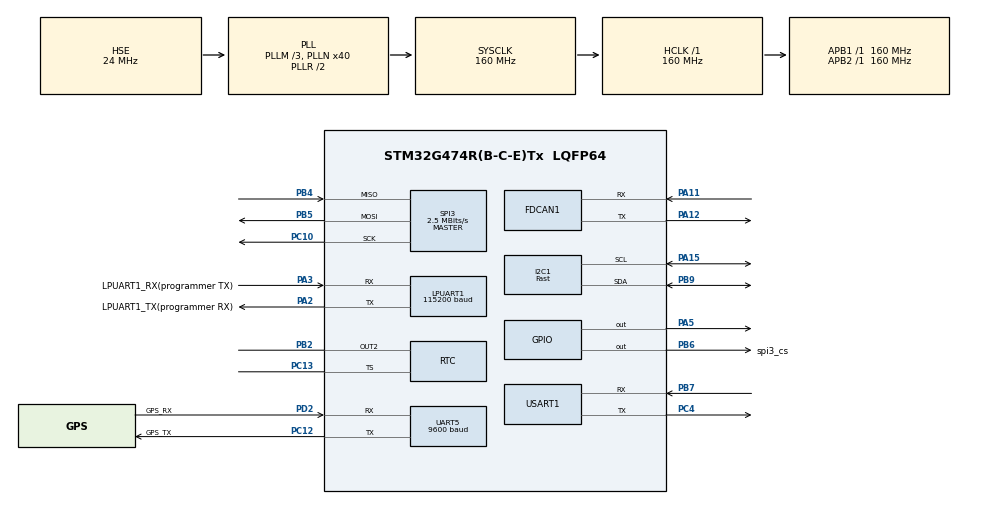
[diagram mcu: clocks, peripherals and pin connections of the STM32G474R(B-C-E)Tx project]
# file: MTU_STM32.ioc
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Dma.Request0=UART5_RX
Dma.Request1=USART1_RX
Dma.Request2=SPI3_RX
Dma.Request3=SPI3_TX
Dma.SPI3_RX.2.Direction=DMA_PERIPH_TO_MEMORY
Dma.SPI3_RX.2.EventEnable=DISABLE
Dma.SPI3_RX.2.Instance=DMA1_Channel3
Dma.SPI3_RX.2.MemDataAlignment=DMA_MDATAALIGN_BYTE
Dma.SPI3_RX.2.MemInc=DMA_MINC_ENABLE
Dma.SPI3_RX.2.Mode=DMA_NORMAL
Dma.SPI3_RX.2.PeriphDataAlignment=DMA_PDATAALIGN_BYTE
Dma.SPI3_RX.2.PeriphInc=DMA_PINC_DISABLE
Dma.SPI3_RX.2.Polarity=HAL_DMAMUX_REQ_GEN_RISING
Dma.SPI3_RX.2.Priority=DMA_PRIORITY_LOW
Dma.SPI3_RX.2.RequestNumber=1
Dma.SPI3_RX.2.SignalID=NONE
Dma.SPI3_RX.2.SyncEnable=DISABLE
Dma.SPI3_RX.2.SyncPolarity=HAL_DMAMUX_SYNC_NO_EVENT
Dma.SPI3_RX.2.SyncRequestNumber=1
Dma.SPI3_RX.2.SyncSignalID=NONE
Dma.SPI3_TX.3.Direction=DMA_MEMORY_TO_PERIPH
Dma.SPI3_TX.3.EventEnable=DISABLE
Dma.SPI3_TX.3.Instance=DMA1_Channel4
Dma.SPI3_TX.3.MemDataAlignment=DMA_MDATAALIGN_BYTE
Dma.SPI3_TX.3.MemInc=DMA_MINC_ENABLE
Dma.SPI3_TX.3.Mode=DMA_NORMAL
Dma.SPI3_TX.3.PeriphDataAlignment=DMA_PDATAALIGN_BYTE
Dma.SPI3_TX.3.PeriphInc=DMA_PINC_DISABLE
Dma.SPI3_TX.3.Polarity=HAL_DMAMUX_REQ_GEN_RISING
Dma.SPI3_TX.3.Priority=DMA_PRIORITY_LOW
Dma.SPI3_TX.3.RequestNumber=1
Dma.SPI3_TX.3.SignalID=NONE
Dma.SPI3_TX.3.SyncEnable=DISABLE
Dma.SPI3_TX.3.SyncPolarity=HAL_DMAMUX_SYNC_NO_EVENT
Dma.SPI3_TX.3.SyncRequestNumber=1
Dma.SPI3_TX.3.SyncSignalID=NONE
Dma.UART5_RX.0.Direction=DMA_PERIPH_TO_MEMORY
Dma.UART5_RX.0.EventEnable=DISABLE
Dma.UART5_RX.0.Instance=DMA1_Channel1
Dma.UART5_RX.0.MemDataAlignment=DMA_MDATAALIGN_BYTE
Dma.UART5_RX.0.MemInc=DMA_MINC_ENABLE
Dma.UART5_RX.0.Mode=DMA_CIRCULAR
Dma.UART5_RX.0.PeriphDataAlignment=DMA_PDATAALIGN_BYTE
Dma.UART5_RX.0.PeriphInc=DMA_PINC_DISABLE
Dma.UART5_RX.0.Polarity=HAL_DMAMUX_REQ_GEN_RISING
Dma.UART5_RX.0.Priority=DMA_PRIORITY_LOW
Dma.UART5_RX.0.RequestNumber=1
Dma.UART5_RX.0.SignalID=NONE
Dma.UART5_RX.0.SyncEnable=DISABLE
Dma.UART5_RX.0.SyncPolarity=HAL_DMAMUX_SYNC_NO_EVENT
Dma.UART5_RX.0.SyncRequestNumber=1
Dma.UART5_RX.0.SyncSignalID=NONE
Dma.USART1_RX.1.Direction=DMA_PERIPH_TO_MEMORY
Dma.USART1_RX.1.EventEnable=DISABLE
Dma.USART1_RX.1.Instance=DMA1_Channel2
Dma.USART1_RX.1.MemDataAlignment=DMA_MDATAALIGN_BYTE
Dma.USART1_RX.1.MemInc=DMA_MINC_ENABLE
Dma.USART1_RX.1.Mode=DMA_NORMAL
Dma.USART1_RX.1.PeriphDataAlignment=DMA_PDATAALIGN_BYTE
Dma.USART1_RX.1.PeriphInc=DMA_PINC_DISABLE
Dma.USART1_RX.1.Polarity=HAL_DMAMUX_REQ_GEN_RISING
Dma.USART1_RX.1.Priority=DMA_PRIORITY_LOW
Dma.USART1_RX.1.RequestNumber=1
Dma.USART1_RX.1.SignalID=NONE
Dma.USART1_RX.1.SyncEnable=DISABLE
Dma.USART1_RX.1.SyncPolarity=HAL_DMAMUX_SYNC_NO_EVENT
Dma.USART1_RX.1.SyncRequestNumber=1
Dma.USART1_RX.1.SyncSignalID=NONE
FATFS._USE_LABEL=1
FATFS._USE_LFN=3
FDCAN1.AutoRetransmission=ENABLE
FDCAN1.CalculateBaudRateNominal=125000
FDCAN1.CalculateTimeBitNominal=8000
FDCAN1.CalculateTimeQuantumNominal=100.0
FDCAN1.DataSyncJumpWidth=12
FDCAN1.DataTimeSeg1=12
FDCAN1.DataTimeSeg2=12
FDCAN1.NominalSyncJumpWidth=3
FDCAN1.NominalTimeSeg1=39
FDCAN1.NominalTimeSeg2=40
FDCAN1.StdFiltersNbr=1
I2C1.I2C_Speed_Mode=I2C_Fast
I2C1.Timing=0x10F32A82
LPUART1.BaudRate=115200
Mcu.Family=STM32G4
Mcu.Name=STM32G474R(B-C-E)Tx
Mcu.Package=LQFP64
NVIC.DMA1_Channel1_IRQn=true\:0\:0\:false\:false\:true\:false\:true\:true
NVIC.DMA1_Channel2_IRQn=true\:0\:0\:false\:false\:true\:false\:true\:true
NVIC.DMA1_Channel3_IRQn=true\:0\:0\:false\:false\:true\:false\:true\:true
NVIC.DMA1_Channel4_IRQn=true\:0\:0\:false\:false\:true\:false\:true\:true
NVIC.FDCAN1_IT0_IRQn=true\:0\:0\:false\:false\:true\:true\:true\:true
NVIC.FDCAN1_IT1_IRQn=true\:0\:0\:false\:false\:true\:true\:true\:true
NVIC.PriorityGroup=NVIC_PRIORITYGROUP_4
NVIC.UART5_IRQn=true\:0\:0\:false\:false\:true\:true\:true\:true
PA11.Mode=FDCAN_Activate
PA11.Signal=FDCAN1_RX
PA12.Mode=FDCAN_Activate
PA12.Signal=FDCAN1_TX
PA13.Mode=Serial_Wire
PA13.Signal=SYS_JTMS-SWDIO
PA14.Mode=Serial_Wire
PA14.Signal=SYS_JTCK-SWCLK
PA15.Mode=I2C
PA15.Signal=I2C1_SCL
PA2.GPIO_Label=LPUART1_TX(programmer RX)
PA2.Mode=Asynchronous
PA2.Signal=LPUART1_TX
PA3.GPIO_Label=LPUART1_RX(programmer TX)
PA3.Mode=Asynchronous
PA3.Signal=LPUART1_RX
PA5.Signal=GPIO_Output
PB2.Mode=Calibration_512Hz
PB2.Signal=RTC_OUT2
PB3.Signal=SYS_JTDO-SWO
PB4.Mode=Full_Duplex_Master
PB4.Signal=SPI3_MISO
PB5.Mode=Full_Duplex_Master
PB5.Signal=SPI3_MOSI
PB6.GPIO_Label=spi3_cs
PB6.GPIO_Speed=GPIO_SPEED_FREQ_HIGH
PB6.PinState=GPIO_PIN_SET
PB6.Signal=GPIO_Output
PB7.Mode=Asynchronous
PB7.Signal=USART1_RX
PB9.Mode=I2C
PB9.Signal=I2C1_SDA
PC10.Mode=Full_Duplex_Master
PC10.Signal=SPI3_SCK
PC11.Signal=UART4_RX
PC12.GPIO_Label=GPS_TX
PC12.Mode=Asynchronous
PC12.Signal=UART5_TX
PC13.Mode=Timestamp enabled
PC13.Signal=RTC_TS
PC14-OSC32_IN.Mode=LSE-External-Oscillator
PC14-OSC32_IN.Signal=RCC_OSC32_IN
PC15-OSC32_OUT.Mode=LSE-External-Oscillator
PC15-OSC32_OUT.Signal=RCC_OSC32_OUT
PC4.Mode=Asynchronous
PC4.Signal=USART1_TX
PD2.GPIO_Label=GPS_RX
PD2.Mode=Asynchronous
PD2.Signal=UART5_RX
PF0-OSC_IN.Mode=HSE-External-Oscillator
PF0-OSC_IN.Signal=RCC_OSC_IN
PF1-OSC_OUT.Mode=HSE-External-Oscillator
PF1-OSC_OUT.Signal=RCC_OSC_OUT
ProjectManager.HeapSize=0x200
ProjectManager.StackSize=0x400
ProjectManager.TargetToolchain=CMake
RCC.ADC12Freq_Value=160000000
RCC.ADC345Freq_Value=160000000
RCC.AHBFreq_Value=160000000
RCC.APB1Freq_Value=160000000
RCC.APB1TimFreq_Value=160000000
RCC.APB2Freq_Value=160000000
RCC.APB2TimFreq_Value=160000000
RCC.CortexFreq_Value=160000000
RCC.EXTERNAL_CLOCK_VALUE=12288000
RCC.HCLKFreq_Value=160000000
RCC.HSE_VALUE=24000000
RCC.HSI48_VALUE=48000000
RCC.HSI_VALUE=16000000
RCC.PLLM=RCC_PLLM_DIV3
RCC.PLLN=40
RCC.PLLSourceVirtual=RCC_PLLSOURCE_HSE
RCC.SYSCLKFreq_VALUE=160000000
RCC.SYSCLKSource=RCC_SYSCLKSOURCE_PLLCLK
RCC.USBFreq_Value=160000000
RCC.VCOOutputFreq_Value=320000000
RTC.Format=RTC_FORMAT_BIN
RTC.StoreOperation=RTC_STOREOPERATION_SET
SPI3.BaudRatePrescaler=SPI_BAUDRATEPRESCALER_64
SPI3.CalculateBaudRate=2.5 MBits/s
SPI3.DataSize=SPI_DATASIZE_8BIT
SPI3.Direction=SPI_DIRECTION_2LINES
SPI3.Mode=SPI_MODE_MASTER
SPI3.VirtualType=VM_MASTER
UART5.BaudRate=9600
UART5.WordLength=WORDLENGTH_8B
USART1.VirtualMode-Asynchronous=VM_ASYNC
VP_FATFS_VS_Generic.Mode=User_defined
VP_RTC_VS_RTC_Activate.Mode=RTC_Enabled
VP_RTC_VS_RTC_Calendar.Mode=RTC_Calendar
VP_SYS_VS_DBSignals.Mode=DisableDeadBatterySignals
board=custom

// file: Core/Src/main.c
/* USER CODE BEGIN Header */
/**
  ******************************************************************************
  * @file           : main.c
  * @brief          : Main program body
  ******************************************************************************
  * @attention
  *
  * Copyright (c) 2023 STMicroelectronics.
  * All rights reserved.
  *
  * This software is licensed under terms that can be found in the LICENSE file
  * in the root directory of this software component.
  * If no LICENSE file comes with this software, it is provided AS-IS.
  *
  ******************************************************************************
  */
/* USER CODE END Header */
#include "main.h"
#include "app_fatfs.h"

/* USER CODE BEGIN Includes */
#include "buffer/buffer.h"
#include "CANparser/CANparser.h"
#include "string.h"
#include "time.h"

#include "MTU/SD_API.h"
#include "MTU/CAN_API.h"
#include "MTU/BMS_API.h"
#include "MTU/GPS_API.h"
#include "MTU/IMU_API.h"
#include "MTU/MPPT_API.h"
#include "MTU/util.h"
/* USER CODE END Includes */

FDCAN_HandleTypeDef hfdcan1;

I2C_HandleTypeDef hi2c1;

UART_HandleTypeDef hlpuart1;
UART_HandleTypeDef huart5;
UART_HandleTypeDef huart1;
DMA_HandleTypeDef hdma_uart5_rx;
DMA_HandleTypeDef hdma_usart1_rx;

RTC_HandleTypeDef hrtc;

SPI_HandleTypeDef hspi3;
DMA_HandleTypeDef hdma_spi3_rx;
DMA_HandleTypeDef hdma_spi3_tx;

/* USER CODE BEGIN PV */

// DataFrame
DataFrame data;

// Tasks
struct task {
	uint32_t lastPerformedMillis;
	uint32_t frequency;				// task ideally performed every X ms
};

struct task taskWriteToSd 			= {0, 1000};
struct task taskWriteToCan 			= {0, 1000};
struct task taskGpsBufToDataFrame 	= {0, 1000};

//UART
uint8_t GPS_buf[GPS_BUF_SIZE];

//CAN
FDCAN_RxHeaderTypeDef RxHeader;

//ESP
bool validCredentailsRead = false;
bool sendWiFiCredentialsFlag = false;
bool WifiCredentialsReceivedFlag = false;
uint8_t rxWifiCredSeq = 0;

uint8_t wifiCredentialsBuf[258];
WifiCredentials wifiCredentials;
uint8_t wifiCredentialsLength = 0;
uint32_t wifiCredentialsRxLength = 0;

//IMU
uint8_t IMU_txbuf[8];
uint8_t IMU_rxbuf[8];

HAL_StatusTypeDef IMU_status;

//SD
char sdBuf[1024];
FATFS fs;
FRESULT sdResult;
UINT br, bw;
uint32_t total, free_space;
/* USER CODE END PV */

void SystemClock_Config(void);
static void MX_GPIO_Init(void);
static void MX_DMA_Init(void);
static void MX_FDCAN1_Init(void);
static void MX_I2C1_Init(void);
static void MX_UART5_Init(void);
static void MX_LPUART1_UART_Init(void);
static void MX_USART1_UART_Init(void);
static void MX_SPI3_Init(void);
static void MX_RTC_Init(void);
/* USER CODE BEGIN PFP */

// Idle line UART interrupt routine, used for GPS data
void HAL_UARTEx_RxEventCallback(UART_HandleTypeDef *huart, uint16_t Size) {
	//GPS
	if (huart->Instance == UART5) {
		parseGPS(&data, GPS_buf, Size);
	}
}

// CANbus interrupt routine
void HAL_FDCAN_RxFifo0Callback(FDCAN_HandleTypeDef *hfdcan, uint32_t RxFifo0ITs) {
	uint8_t RxData[8];
	HAL_FDCAN_GetRxMessage(hfdcan, FDCAN_RX_FIFO0, &RxHeader, RxData);

	// Telemetry reset signal
	if (RxHeader.Identifier == 0x100) {
		NVIC_SystemReset();
	}

	// signal to send wifiCredentials
	if (RxHeader.Identifier == 0x752) {
		sendWiFiCredentialsFlag = true;
	}

	if (listenForWiFiCredentialsCan(RxHeader.Identifier, RxData, wifiCredentialsBuf, &wifiCredentialsRxLength, &WifiCredentialsReceivedFlag, &rxWifiCredSeq) == 0) {
		rxWifiCredSeq = 0;
	}

	// Parse telemetry Data
	CAN_parseMessage(RxHeader.Identifier, RxData, &data, data.mtu.unixTime);
}

/* USER CODE END PFP */

int main(void)
{

  /* MCU Configuration--------------------------------------------------------*/

  /* Reset of all peripherals, Initializes the Flash interface and the Systick. */
  HAL_Init();

  /* Configure the system clock */
  SystemClock_Config();

  /* Initialize all configured peripherals */
  MX_GPIO_Init();
  MX_DMA_Init();
  MX_FDCAN1_Init();
  MX_I2C1_Init();
  MX_UART5_Init();
  MX_LPUART1_UART_Init();
  MX_USART1_UART_Init();
  MX_SPI3_Init();
  MX_RTC_Init();
  if (MX_FATFS_Init() != APP_OK) {
    Error_Handler();
  }
  /* USER CODE BEGIN 2 */

  //SD INIT
  data.mtu.SD_status = initSD(&fs, &total, &free_space);

  //get wifi credentials
  data.mtu.SD_status = readWifiCredentialsRaw(wifiCredentialsBuf, &wifiCredentialsLength);
  if (data.mtu.SD_status == FR_OK) {
	  validCredentailsRead = true;
  }

  //UART INIT

  //clear the RDR register to avoid overrun error
  volatile uint8_t tempUARTrdr = huart5.Instance->RDR;
  (void)tempUARTrdr;
  HAL_UARTEx_ReceiveToIdle_DMA(&huart5, GPS_buf, GPS_BUF_SIZE);

  //CAN INIT
  setCanTxHeaders();
  HAL_FDCAN_Start(&hfdcan1);
  HAL_FDCAN_ActivateNotification(&hfdcan1, FDCAN_IT_RX_FIFO0_NEW_MESSAGE, 0);

  /* USER CODE END 2 */

  /* Infinite loop */
  /* USER CODE BEGIN WHILE */

/////////////////////
//****MAIN LOOP****//
/////////////////////
while (1)
  {
	// -- tasks performed every cycle --

	getRTCUnixTime(&hrtc, &data);

	// -- tasks performed on time based interval --

	//convert raw GPS dataBuffer to values in dataframe struct
	if (HAL_GetTick() - taskGpsBufToDataFrame.lastPerformedMillis > taskGpsBufToDataFrame.frequency) {
		GPS_bufferToDataFrame(&data);

		taskGpsBufToDataFrame.lastPerformedMillis = HAL_GetTick();
	}

	// send GPS and MTU data to the CANbus network
	if (HAL_GetTick() - taskWriteToCan.lastPerformedMillis > taskWriteToCan.frequency) {
		sendToCan(&hfdcan1, &data);

		taskWriteToCan.lastPerformedMillis = HAL_GetTick();
	}

	// log all data to the sd card
	if (HAL_GetTick() - taskWriteToSd.lastPerformedMillis > taskWriteToSd.frequency) {
		data.mtu.SD_status = writeDataFrameToSD(&data);

		taskWriteToSd.lastPerformedMillis = HAL_GetTick();
	}

	// -- event-driven tasks --

	// If gps has overrun error, clear rdr buffer and reinitialize interrupt
	if (huart5.ErrorCode & 8) {
		tempUARTrdr = huart5.Instance->RDR;
		(void)tempUARTrdr;
		HAL_UARTEx_ReceiveToIdle_DMA(&huart5, GPS_buf, GPS_BUF_SIZE);
	}

	// If esp requests wifiCredentials, send it over CANbus
	if (validCredentailsRead & sendWiFiCredentialsFlag) {
		readWifiCredentialsRaw(wifiCredentialsBuf, &wifiCredentialsLength);
		sendWiFiCredentialsBuf(&hfdcan1, wifiCredentialsBuf, wifiCredentialsLength);

		sendWiFiCredentialsFlag = false;
	}

	// If esp received new wifi Credentials, save it to SD card
	if (WifiCredentialsReceivedFlag) {
		sdResult = saveWifiCredentialsRaw(wifiCredentialsBuf, wifiCredentialsLength);
		if (sdResult == FR_OK) { //success
			rxWifiCredSeq = 0;
			WifiCredentialsReceivedFlag = false;
		}
	}

    /* USER CODE END WHILE */

    /* USER CODE BEGIN 3 */
  }
	////////////////////
	//****END MAIN****//
	////////////////////
  /* USER CODE END 3 */
}

void SystemClock_Config(void)
{
  RCC_OscInitTypeDef RCC_OscInitStruct = {0};
  RCC_ClkInitTypeDef RCC_ClkInitStruct = {0};

  /** Configure the main internal regulator output voltage
  */
  HAL_PWREx_ControlVoltageScaling(PWR_REGULATOR_VOLTAGE_SCALE1_BOOST);

  /** Initializes the RCC Oscillators according to the specified parameters
  * in the RCC_OscInitTypeDef structure.
  */
  RCC_OscInitStruct.OscillatorType = RCC_OSCILLATORTYPE_LSI|RCC_OSCILLATORTYPE_HSE;
  RCC_OscInitStruct.HSEState = RCC_HSE_ON;
  RCC_OscInitStruct.LSIState = RCC_LSI_ON;
  RCC_OscInitStruct.PLL.PLLState = RCC_PLL_ON;
  RCC_OscInitStruct.PLL.PLLSource = RCC_PLLSOURCE_HSE;
  RCC_OscInitStruct.PLL.PLLM = RCC_PLLM_DIV3;
  RCC_OscInitStruct.PLL.PLLN = 40;
  RCC_OscInitStruct.PLL.PLLP = RCC_PLLP_DIV2;
  RCC_OscInitStruct.PLL.PLLQ = RCC_PLLQ_DIV2;
  RCC_OscInitStruct.PLL.PLLR = RCC_PLLR_DIV2;
  if (HAL_RCC_OscConfig(&RCC_OscInitStruct) != HAL_OK)
  {
    Error_Handler();
  }

  /** Initializes the CPU, AHB and APB buses clocks
  */
  RCC_ClkInitStruct.ClockType = RCC_CLOCKTYPE_HCLK|RCC_CLOCKTYPE_SYSCLK
                              |RCC_CLOCKTYPE_PCLK1|RCC_CLOCKTYPE_PCLK2;
  RCC_ClkInitStruct.SYSCLKSource = RCC_SYSCLKSOURCE_PLLCLK;
  RCC_ClkInitStruct.AHBCLKDivider = RCC_SYSCLK_DIV1;
  RCC_ClkInitStruct.APB1CLKDivider = RCC_HCLK_DIV1;
  RCC_ClkInitStruct.APB2CLKDivider = RCC_HCLK_DIV1;

  if (HAL_RCC_ClockConfig(&RCC_ClkInitStruct, FLASH_LATENCY_4) != HAL_OK)
  {
    Error_Handler();
  }
}

static void MX_FDCAN1_Init(void)
{

  hfdcan1.Instance = FDCAN1;
  hfdcan1.Init.ClockDivider = FDCAN_CLOCK_DIV1;
  hfdcan1.Init.FrameFormat = FDCAN_FRAME_CLASSIC;
  hfdcan1.Init.Mode = FDCAN_MODE_NORMAL;
  hfdcan1.Init.AutoRetransmission = ENABLE;
  hfdcan1.Init.TransmitPause = DISABLE;
  hfdcan1.Init.ProtocolException = DISABLE;
  hfdcan1.Init.NominalPrescaler = 16;
  hfdcan1.Init.NominalSyncJumpWidth = 3;
  hfdcan1.Init.NominalTimeSeg1 = 39;
  hfdcan1.Init.NominalTimeSeg2 = 40;
  hfdcan1.Init.DataPrescaler = 1;
  hfdcan1.Init.DataSyncJumpWidth = 12;
  hfdcan1.Init.DataTimeSeg1 = 12;
  hfdcan1.Init.DataTimeSeg2 = 12;
  hfdcan1.Init.StdFiltersNbr = 1;
  hfdcan1.Init.ExtFiltersNbr = 0;
  hfdcan1.Init.TxFifoQueueMode = FDCAN_TX_FIFO_OPERATION;
  if (HAL_FDCAN_Init(&hfdcan1) != HAL_OK)
  {
    Error_Handler();
  }

}

static void MX_I2C1_Init(void)
{

  hi2c1.Instance = I2C1;
  hi2c1.Init.Timing = 0x10F32A82;
  hi2c1.Init.OwnAddress1 = 0;
  hi2c1.Init.AddressingMode = I2C_ADDRESSINGMODE_7BIT;
  hi2c1.Init.DualAddressMode = I2C_DUALADDRESS_DISABLE;
  hi2c1.Init.OwnAddress2 = 0;
  hi2c1.Init.OwnAddress2Masks = I2C_OA2_NOMASK;
  hi2c1.Init.GeneralCallMode = I2C_GENERALCALL_DISABLE;
  hi2c1.Init.NoStretchMode = I2C_NOSTRETCH_DISABLE;
  if (HAL_I2C_Init(&hi2c1) != HAL_OK)
  {
    Error_Handler();
  }

  /** Configure Analogue filter
  */
  if (HAL_I2CEx_ConfigAnalogFilter(&hi2c1, I2C_ANALOGFILTER_ENABLE) != HAL_OK)
  {
    Error_Handler();
  }

  /** Configure Digital filter
  */
  if (HAL_I2CEx_ConfigDigitalFilter(&hi2c1, 0) != HAL_OK)
  {
    Error_Handler();
  }

}

static void MX_LPUART1_UART_Init(void)
{

  hlpuart1.Instance = LPUART1;
  hlpuart1.Init.BaudRate = 115200;
  hlpuart1.Init.WordLength = UART_WORDLENGTH_8B;
  hlpuart1.Init.StopBits = UART_STOPBITS_1;
  hlpuart1.Init.Parity = UART_PARITY_NONE;
  hlpuart1.Init.Mode = UART_MODE_TX_RX;
  hlpuart1.Init.HwFlowCtl = UART_HWCONTROL_NONE;
  hlpuart1.Init.OneBitSampling = UART_ONE_BIT_SAMPLE_DISABLE;
  hlpuart1.Init.ClockPrescaler = UART_PRESCALER_DIV1;
  hlpuart1.AdvancedInit.AdvFeatureInit = UART_ADVFEATURE_NO_INIT;
  if (HAL_UART_Init(&hlpuart1) != HAL_OK)
  {
    Error_Handler();
  }
  if (HAL_UARTEx_SetTxFifoThreshold(&hlpuart1, UART_TXFIFO_THRESHOLD_1_8) != HAL_OK)
  {
    Error_Handler();
  }
  if (HAL_UARTEx_SetRxFifoThreshold(&hlpuart1, UART_RXFIFO_THRESHOLD_1_8) != HAL_OK)
  {
    Error_Handler();
  }
  if (HAL_UARTEx_DisableFifoMode(&hlpuart1) != HAL_OK)
  {
    Error_Handler();
  }

}

static void MX_UART5_Init(void)
{

  huart5.Instance = UART5;
  huart5.Init.BaudRate = 9600;
  huart5.Init.WordLength = UART_WORDLENGTH_8B;
  huart5.Init.StopBits = UART_STOPBITS_1;
  huart5.Init.Parity = UART_PARITY_NONE;
  huart5.Init.Mode = UART_MODE_TX_RX;
  huart5.Init.HwFlowCtl = UART_HWCONTROL_NONE;
  huart5.Init.OverSampling = UART_OVERSAMPLING_16;
  huart5.Init.OneBitSampling = UART_ONE_BIT_SAMPLE_DISABLE;
  huart5.Init.ClockPrescaler = UART_PRESCALER_DIV1;
  huart5.AdvancedInit.AdvFeatureInit = UART_ADVFEATURE_NO_INIT;
  if (HAL_UART_Init(&huart5) != HAL_OK)
  {
    Error_Handler();
  }
  if (HAL_UARTEx_SetTxFifoThreshold(&huart5, UART_TXFIFO_THRESHOLD_1_8) != HAL_OK)
  {
    Error_Handler();
  }
  if (HAL_UARTEx_SetRxFifoThreshold(&huart5, UART_RXFIFO_THRESHOLD_1_8) != HAL_OK)
  {
    Error_Handler();
  }
  if (HAL_UARTEx_DisableFifoMode(&huart5) != HAL_OK)
  {
    Error_Handler();
  }

}

static void MX_USART1_UART_Init(void)
{

  huart1.Instance = USART1;
  huart1.Init.BaudRate = 115200;
  huart1.Init.WordLength = UART_WORDLENGTH_8B;
  huart1.Init.StopBits = UART_STOPBITS_1;
  huart1.Init.Parity = UART_PARITY_NONE;
  huart1.Init.Mode = UART_MODE_TX_RX;
  huart1.Init.HwFlowCtl = UART_HWCONTROL_NONE;
  huart1.Init.OverSampling = UART_OVERSAMPLING_16;
  huart1.Init.OneBitSampling = UART_ONE_BIT_SAMPLE_DISABLE;
  huart1.Init.ClockPrescaler = UART_PRESCALER_DIV1;
  huart1.AdvancedInit.AdvFeatureInit = UART_ADVFEATURE_NO_INIT;
  if (HAL_UART_Init(&huart1) != HAL_OK)
  {
    Error_Handler();
  }
  if (HAL_UARTEx_SetTxFifoThreshold(&huart1, UART_TXFIFO_THRESHOLD_1_8) != HAL_OK)
  {
    Error_Handler();
  }
  if (HAL_UARTEx_SetRxFifoThreshold(&huart1, UART_RXFIFO_THRESHOLD_1_8) != HAL_OK)
  {
    Error_Handler();
  }
  if (HAL_UARTEx_DisableFifoMode(&huart1) != HAL_OK)
  {
    Error_Handler();
  }

}

static void MX_RTC_Init(void)
{

  RTC_TimeTypeDef sTime = {0};
  RTC_DateTypeDef sDate = {0};

  /** Initialize RTC Only
  */
  hrtc.Instance = RTC;
  hrtc.Init.HourFormat = RTC_HOURFORMAT_24;
  hrtc.Init.AsynchPrediv = 127;
  hrtc.Init.SynchPrediv = 255;
  hrtc.Init.OutPut = RTC_OUTPUT_DISABLE;
  hrtc.Init.OutPutRemap = RTC_OUTPUT_REMAP_POS1;
  hrtc.Init.OutPutPolarity = RTC_OUTPUT_POLARITY_HIGH;
  hrtc.Init.OutPutType = RTC_OUTPUT_TYPE_OPENDRAIN;
  hrtc.Init.OutPutPullUp = RTC_OUTPUT_PULLUP_NONE;
  if (HAL_RTC_Init(&hrtc) != HAL_OK)
  {
    Error_Handler();
  }

  /** Initialize RTC and set the Time and Date
  */
  sTime.Hours = 0;
  sTime.Minutes = 0;
  sTime.Seconds = 0;
  sTime.SubSeconds = 0;
  sTime.DayLightSaving = RTC_DAYLIGHTSAVING_NONE;
  sTime.StoreOperation = RTC_STOREOPERATION_SET;
  if (HAL_RTC_SetTime(&hrtc, &sTime, RTC_FORMAT_BIN) != HAL_OK)
  {
    Error_Handler();
  }
  sDate.WeekDay = RTC_WEEKDAY_MONDAY;
  sDate.Month = RTC_MONTH_JANUARY;
  sDate.Date = 1;
  sDate.Year = 0;
  if (HAL_RTC_SetDate(&hrtc, &sDate, RTC_FORMAT_BIN) != HAL_OK)
  {
    Error_Handler();
  }

  /** Enable the TimeStamp
  */
  if (HAL_RTCEx_SetTimeStamp(&hrtc, RTC_TIMESTAMPEDGE_RISING, RTC_TIMESTAMPPIN_DEFAULT) != HAL_OK)
  {
    Error_Handler();
  }

  /** Enable Calibration
  */
  if (HAL_RTCEx_SetCalibrationOutPut(&hrtc, RTC_CALIBOUTPUT_512HZ) != HAL_OK)
  {
    Error_Handler();
  }

}

static void MX_SPI3_Init(void)
{

  /* SPI3 parameter configuration*/
  hspi3.Instance = SPI3;
  hspi3.Init.Mode = SPI_MODE_MASTER;
  hspi3.Init.Direction = SPI_DIRECTION_2LINES;
  hspi3.Init.DataSize = SPI_DATASIZE_8BIT;
  hspi3.Init.CLKPolarity = SPI_POLARITY_LOW;
  hspi3.Init.CLKPhase = SPI_PHASE_1EDGE;
  hspi3.Init.NSS = SPI_NSS_SOFT;
  hspi3.Init.BaudRatePrescaler = SPI_BAUDRATEPRESCALER_64;
  hspi3.Init.FirstBit = SPI_FIRSTBIT_MSB;
  hspi3.Init.TIMode = SPI_TIMODE_DISABLE;
  hspi3.Init.CRCCalculation = SPI_CRCCALCULATION_DISABLE;
  hspi3.Init.CRCPolynomial = 7;
  hspi3.Init.CRCLength = SPI_CRC_LENGTH_DATASIZE;
  hspi3.Init.NSSPMode = SPI_NSS_PULSE_ENABLE;
  if (HAL_SPI_Init(&hspi3) != HAL_OK)
  {
    Error_Handler();
  }

}

static void MX_DMA_Init(void)
{

  /* DMA controller clock enable */
  __HAL_RCC_DMAMUX1_CLK_ENABLE();
  __HAL_RCC_DMA1_CLK_ENABLE();

  /* DMA interrupt init */
  /* DMA1_Channel1_IRQn interrupt configuration */
  HAL_NVIC_SetPriority(DMA1_Channel1_IRQn, 0, 0);
  HAL_NVIC_EnableIRQ(DMA1_Channel1_IRQn);
  /* DMA1_Channel2_IRQn interrupt configuration */
  HAL_NVIC_SetPriority(DMA1_Channel2_IRQn, 0, 0);
  HAL_NVIC_EnableIRQ(DMA1_Channel2_IRQn);
  /* DMA1_Channel3_IRQn interrupt configuration */
  HAL_NVIC_SetPriority(DMA1_Channel3_IRQn, 0, 0);
  HAL_NVIC_EnableIRQ(DMA1_Channel3_IRQn);
  /* DMA1_Channel4_IRQn interrupt configuration */
  HAL_NVIC_SetPriority(DMA1_Channel4_IRQn, 0, 0);
  HAL_NVIC_EnableIRQ(DMA1_Channel4_IRQn);

}

static void MX_GPIO_Init(void)
{
  GPIO_InitTypeDef GPIO_InitStruct = {0};

  /* GPIO Ports Clock Enable */
  __HAL_RCC_GPIOC_CLK_ENABLE();
  __HAL_RCC_GPIOF_CLK_ENABLE();
  __HAL_RCC_GPIOA_CLK_ENABLE();
  __HAL_RCC_GPIOB_CLK_ENABLE();
  __HAL_RCC_GPIOD_CLK_ENABLE();

  /*Configure GPIO pin Output Level */
  HAL_GPIO_WritePin(GPIOA, GPIO_PIN_5, GPIO_PIN_RESET);

  /*Configure GPIO pin Output Level */
  HAL_GPIO_WritePin(spi3_cs_GPIO_Port, spi3_cs_Pin, GPIO_PIN_SET);

  /*Configure GPIO pin : PA5 */
  GPIO_InitStruct.Pin = GPIO_PIN_5;
  GPIO_InitStruct.Mode = GPIO_MODE_OUTPUT_PP;
  GPIO_InitStruct.Pull = GPIO_NOPULL;
  GPIO_InitStruct.Speed = GPIO_SPEED_FREQ_LOW;
  HAL_GPIO_Init(GPIOA, &GPIO_InitStruct);

  /*Configure GPIO pin : PC11 */
  GPIO_InitStruct.Pin = GPIO_PIN_11;
  GPIO_InitStruct.Mode = GPIO_MODE_AF_PP;
  GPIO_InitStruct.Pull = GPIO_NOPULL;
  GPIO_InitStruct.Speed = GPIO_SPEED_FREQ_LOW;
  GPIO_InitStruct.Alternate = GPIO_AF5_UART4;
  HAL_GPIO_Init(GPIOC, &GPIO_InitStruct);

  /*Configure GPIO pin : spi3_cs_Pin */
  GPIO_InitStruct.Pin = spi3_cs_Pin;
  GPIO_InitStruct.Mode = GPIO_MODE_OUTPUT_PP;
  GPIO_InitStruct.Pull = GPIO_NOPULL;
  GPIO_InitStruct.Speed = GPIO_SPEED_FREQ_HIGH;
  HAL_GPIO_Init(spi3_cs_GPIO_Port, &GPIO_InitStruct);

}

void Error_Handler(void)
{
  __disable_irq();
  while (1)
  {
  }
}
